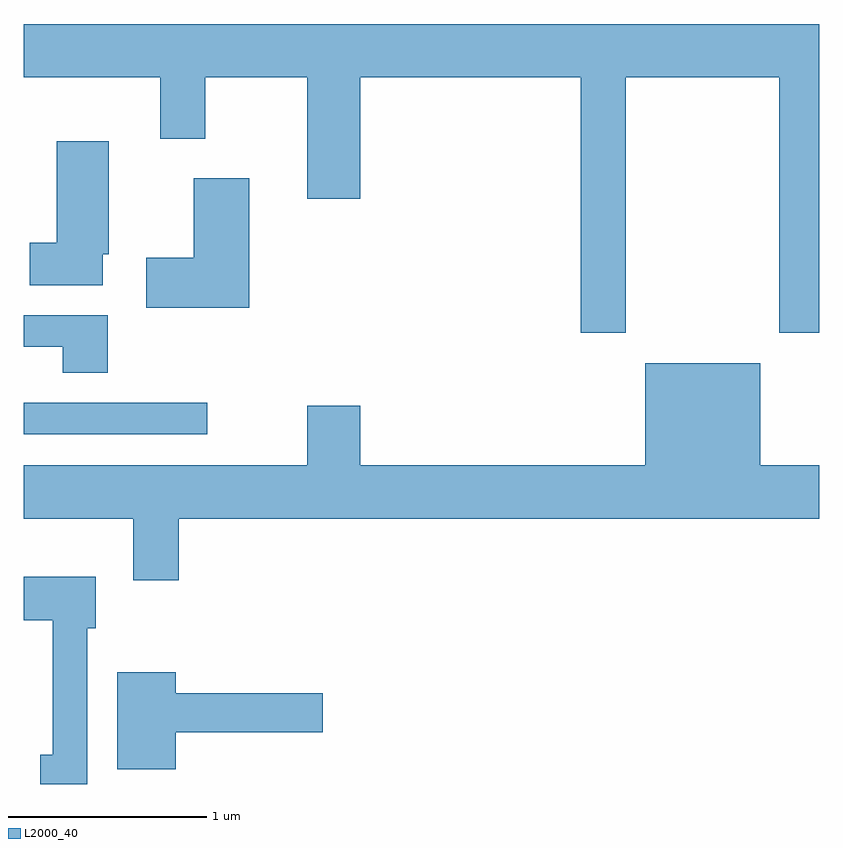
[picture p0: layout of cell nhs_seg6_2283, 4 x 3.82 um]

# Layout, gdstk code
import gdstk
lib = gdstk.Library(unit=1e-6, precision=1e-09)
def R(c, l, rs):  # rectangles x0, y0, x1, y1
    for r in rs: c.add(gdstk.rectangle(r[:2], r[2:], *l))
def P(c, l, *ps):  # polygons
    for p in ps: c.add(gdstk.Polygon(p, *l))
L2000_40 = (2000, 40)

nhs_seg6_2283 = lib.new_cell('nhs_seg6_2283')
R(nhs_seg6_2283, L2000_40, [(253.611,1645.921,254.533,1646.079)])
P(nhs_seg6_2283, L2000_40, [(256.639,1647.716),(257.411,1647.716),(257.411,1646.431),(257.611,1646.431),(257.611,1647.984),(253.611,1647.984),(253.611,1647.716),(254.296,1647.716),(254.296,1647.406),(254.524,1647.406),(254.524,1647.716),(255.036,1647.716),(255.036,1647.106),(255.304,1647.106),(255.304,1647.716),(256.411,1647.716),(256.411,1646.431),(256.639,1646.431)],
  [(254.009,1646.826),(254.039,1646.826),(254.039,1647.394),(253.776,1647.394),(253.776,1646.884),(253.641,1646.884),(253.641,1646.671),(254.009,1646.671)],
  [(254.744,1647.209),(254.466,1647.209),(254.466,1646.809),(254.226,1646.809),(254.226,1646.556),(254.744,1646.556)],
  [(254.034,1646.519),(253.611,1646.519),(253.611,1646.361),(253.806,1646.361),(253.806,1646.231),(254.034,1646.231)],
  [(254.389,1645.496),(257.611,1645.496),(257.611,1645.764),(257.314,1645.764),(257.314,1646.279),(256.736,1646.279),(256.736,1645.764),(255.304,1645.764),(255.304,1646.064),(255.036,1646.064),(255.036,1645.764),(253.611,1645.764),(253.611,1645.496),(254.161,1645.496),(254.161,1645.186),(254.389,1645.186)],
  [(253.929,1644.946),(253.974,1644.946),(253.974,1645.204),(253.611,1645.204),(253.611,1644.986),(253.756,1644.986),(253.756,1644.309),(253.693,1644.309),(253.693,1644.162),(253.929,1644.162)],
  [(254.374,1644.421),(255.114,1644.421),(255.114,1644.619),(254.374,1644.619),(254.374,1644.724),(254.081,1644.724),(254.081,1644.236),(254.374,1644.236)])

lib.write_gds('nhs_seg6_2283.gds')
